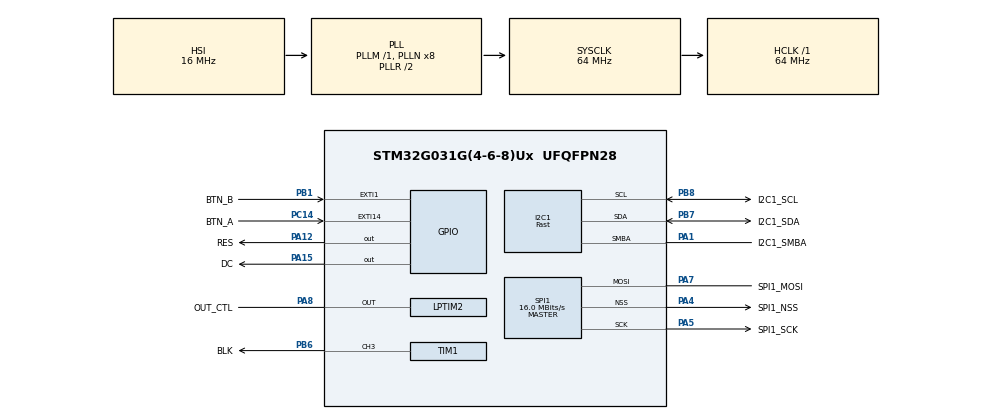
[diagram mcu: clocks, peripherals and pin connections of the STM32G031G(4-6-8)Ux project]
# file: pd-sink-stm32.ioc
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Dma.Request0=SPI1_TX
Dma.SPI1_TX.0.Direction=DMA_MEMORY_TO_PERIPH
Dma.SPI1_TX.0.EventEnable=ENABLE
Dma.SPI1_TX.0.Instance=DMA1_Channel1
Dma.SPI1_TX.0.MemDataAlignment=DMA_MDATAALIGN_BYTE
Dma.SPI1_TX.0.MemInc=DMA_MINC_ENABLE
Dma.SPI1_TX.0.Mode=DMA_NORMAL
Dma.SPI1_TX.0.PeriphDataAlignment=DMA_PDATAALIGN_BYTE
Dma.SPI1_TX.0.PeriphInc=DMA_PINC_DISABLE
Dma.SPI1_TX.0.Polarity=HAL_DMAMUX_REQ_GEN_RISING
Dma.SPI1_TX.0.Priority=DMA_PRIORITY_HIGH
Dma.SPI1_TX.0.RequestNumber=1
Dma.SPI1_TX.0.SignalID=NONE
Dma.SPI1_TX.0.SyncEnable=DISABLE
Dma.SPI1_TX.0.SyncPolarity=HAL_DMAMUX_SYNC_NO_EVENT
Dma.SPI1_TX.0.SyncRequestNumber=1
Dma.SPI1_TX.0.SyncSignalID=NONE
I2C1.CustomTiming=Disabled
I2C1.I2C_Speed_Mode=I2C_Fast
I2C1.Timeout=0x0000830D
I2C1.Timing=0x00C12166
Mcu.Family=STM32G0
Mcu.Name=STM32G031G(4-6-8)Ux
Mcu.Package=UFQFPN28
NVIC.DMA1_Ch4_5_DMAMUX1_OVR_IRQn=true\:0\:0\:false\:false\:true\:false\:true\:true
NVIC.DMA1_Channel1_IRQn=true\:0\:0\:false\:false\:true\:false\:true\:true
PA1.GPIO_Label=I2C1_SMBA
PA1.Mode=SMBus-Alert-mode
PA1.Signal=I2C1_SMBA
PA12\ [PA10].GPIO_Label=RES
PA12\ [PA10].Signal=GPIO_Output
PA13.Mode=Serial_Wire
PA13.Signal=SYS_SWDIO
PA14-BOOT0.Mode=Serial_Wire
PA14-BOOT0.Signal=SYS_SWCLK
PA15.GPIO_Label=DC
PA15.GPIO_Speed=GPIO_SPEED_FREQ_LOW
PA15.Signal=GPIO_Output
PA4.GPIO_Label=SPI1_NSS
PA4.Mode=NSS_Signal_Hard_Output
PA4.Signal=SPI1_NSS
PA5.GPIO_Label=SPI1_SCK
PA5.Mode=Simplex_Bidirectional_Master
PA5.Signal=SPI1_SCK
PA7.GPIO_Label=SPI1_MOSI
PA7.Mode=Simplex_Bidirectional_Master
PA7.Signal=SPI1_MOSI
PA8.GPIO_Label=OUT_CTL
PA8.Mode=WaveformGeneration
PA8.Signal=LPTIM2_OUT
PB1.GPIO_Label=BTN_B
PB1.GPIO_ModeDefaultEXTI=GPIO_MODE_IT_RISING_FALLING
PB1.GPIO_PuPd=GPIO_PULLUP
PB1.Signal=GPXTI1
PB6.GPIO_Label=BLK
PB6.Signal=S_TIM1_CH3
PB7.GPIO_Label=I2C1_SDA
PB7.Mode=SMBus-Alert-mode
PB7.Signal=I2C1_SDA
PB8.GPIO_Label=I2C1_SCL
PB8.Mode=SMBus-Alert-mode
PB8.Signal=I2C1_SCL
PC14-OSC32_IN\ (PC14).GPIO_Label=BTN_A
PC14-OSC32_IN\ (PC14).GPIO_PuPd=GPIO_PULLUP
PC14-OSC32_IN\ (PC14).Signal=GPXTI14
ProjectManager.HeapSize=0x200
ProjectManager.StackSize=0x400
ProjectManager.TargetToolchain=CMake
RCC.ADCFreq_Value=64000000
RCC.AHBFreq_Value=64000000
RCC.CortexFreq_Value=64000000
RCC.EXTERNAL_CLOCK_VALUE=12288000
RCC.HCLKFreq_Value=64000000
RCC.HSE_VALUE=8000000
RCC.HSI_VALUE=16000000
RCC.LSE_VALUE=32768
RCC.PLLQ=RCC_PLLQ_DIV4
RCC.SYSCLKFreq_VALUE=64000000
RCC.SYSCLKSource=RCC_SYSCLKSOURCE_PLLCLK
RCC.VCOOutputFreq_Value=128000000
SH.S_TIM1_CH3.0=TIM1_CH3,PWM Generation3 CH3
SPI1.BaudRatePrescaler=SPI_BAUDRATEPRESCALER_4
SPI1.CLKPolarity=SPI_POLARITY_HIGH
SPI1.CalculateBaudRate=16.0 MBits/s
SPI1.Direction=SPI_DIRECTION_1LINE
SPI1.Mode=SPI_MODE_MASTER
SPI1.VirtualNSS=VM_NSSHARD
SPI1.VirtualType=VM_MASTER
TIM1.Channel-PWM\ Generation3\ CH3=TIM_CHANNEL_3
VP_LPTIM2_VS_LPTIM_counterModeInternalClock.Mode=Counts__internal_clock_event_00
VP_TIM1_VS_ClockSourceINT.Mode=Internal
board=custom

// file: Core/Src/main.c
/* USER CODE BEGIN Header */
/**
 ******************************************************************************
 * @file           : main.c
 * @brief          : Main program body
 ******************************************************************************
 * @attention
 *
 * Copyright (c) 2024 STMicroelectronics.
 * All rights reserved.
 *
 * This software is licensed under terms that can be found in the LICENSE file
 * in the root directory of this software component.
 * If no LICENSE file comes with this software, it is provided AS-IS.
 *
 ******************************************************************************
 */
/* USER CODE END Header */
#include "main.h"

/* USER CODE BEGIN Includes */

#include "st7789.h"
/* USER CODE END Includes */

SMBUS_HandleTypeDef hsmbus1;

LPTIM_HandleTypeDef hlptim2;

SPI_HandleTypeDef hspi1;
DMA_HandleTypeDef hdma_spi1_tx;

TIM_HandleTypeDef htim1;

void SystemClock_Config(void);
static void MX_GPIO_Init(void);
static void MX_DMA_Init(void);
static void MX_I2C1_SMBUS_Init(void);
static void MX_LPTIM2_Init(void);
static void MX_SPI1_Init(void);
static void MX_TIM1_Init(void);

int main(void) {

  /* MCU Configuration--------------------------------------------------------*/

  /* Reset of all peripherals, Initializes the Flash interface and the Systick.
   */
  HAL_Init();

  /* Configure the system clock */
  SystemClock_Config();

  /* Initialize all configured peripherals */
  MX_GPIO_Init();
  MX_DMA_Init();
  MX_I2C1_SMBUS_Init();
  MX_LPTIM2_Init();
  MX_SPI1_Init();
  MX_TIM1_Init();
  /* USER CODE BEGIN 2 */
  ST7789_Init();
  ST7789_Fill_Color(WHITE);

  uint8_t color = 0;
  /* USER CODE END 2 */

  /* Infinite loop */
  while (1) {

    /* USER CODE BEGIN 3 */
    // HAL_Delay(1000);
    // HAL_GPIO_TogglePin(BLK_GPIO_Port, BLK_Pin);
    ST7789_Test();
    color += 1;
    color %= 7;
    // 七彩色
    switch (color) {
      case 0:
        ST7789_Fill_Color(WHITE);
        break;
      case 1:
        ST7789_Fill_Color(MAGENTA);
        break;
      case 2:
        ST7789_Fill_Color(RED);
        break;
      case 3:
        ST7789_Fill_Color(YELLOW);
        break;
      case 4:
        ST7789_Fill_Color(GREEN);
        break;
      case 5:
        ST7789_Fill_Color(CYAN);
        break;
      case 6:
        ST7789_Fill_Color(BLUE);
        break;
      default:
        break;
    }
  }
  /* USER CODE END 3 */
}

void SystemClock_Config(void) {
  RCC_OscInitTypeDef RCC_OscInitStruct = {0};
  RCC_ClkInitTypeDef RCC_ClkInitStruct = {0};

  /** Configure the main internal regulator output voltage
   */
  HAL_PWREx_ControlVoltageScaling(PWR_REGULATOR_VOLTAGE_SCALE1);

  /** Initializes the RCC Oscillators according to the specified parameters
   * in the RCC_OscInitTypeDef structure.
   */
  RCC_OscInitStruct.OscillatorType = RCC_OSCILLATORTYPE_HSI;
  RCC_OscInitStruct.HSIState = RCC_HSI_ON;
  RCC_OscInitStruct.HSIDiv = RCC_HSI_DIV1;
  RCC_OscInitStruct.HSICalibrationValue = RCC_HSICALIBRATION_DEFAULT;
  RCC_OscInitStruct.PLL.PLLState = RCC_PLL_ON;
  RCC_OscInitStruct.PLL.PLLSource = RCC_PLLSOURCE_HSI;
  RCC_OscInitStruct.PLL.PLLM = RCC_PLLM_DIV1;
  RCC_OscInitStruct.PLL.PLLN = 8;
  RCC_OscInitStruct.PLL.PLLP = RCC_PLLP_DIV2;
  RCC_OscInitStruct.PLL.PLLQ = RCC_PLLQ_DIV4;
  RCC_OscInitStruct.PLL.PLLR = RCC_PLLR_DIV2;
  if (HAL_RCC_OscConfig(&RCC_OscInitStruct) != HAL_OK) {
    Error_Handler();
  }

  /** Initializes the CPU, AHB and APB buses clocks
   */
  RCC_ClkInitStruct.ClockType =
      RCC_CLOCKTYPE_HCLK | RCC_CLOCKTYPE_SYSCLK | RCC_CLOCKTYPE_PCLK1;
  RCC_ClkInitStruct.SYSCLKSource = RCC_SYSCLKSOURCE_PLLCLK;
  RCC_ClkInitStruct.AHBCLKDivider = RCC_SYSCLK_DIV1;
  RCC_ClkInitStruct.APB1CLKDivider = RCC_HCLK_DIV1;

  if (HAL_RCC_ClockConfig(&RCC_ClkInitStruct, FLASH_LATENCY_2) != HAL_OK) {
    Error_Handler();
  }
}

static void MX_I2C1_SMBUS_Init(void) {

  hsmbus1.Instance = I2C1;
  hsmbus1.Init.Timing = 0x00C12166;
  hsmbus1.Init.AnalogFilter = SMBUS_ANALOGFILTER_ENABLE;
  hsmbus1.Init.OwnAddress1 = 2;
  hsmbus1.Init.AddressingMode = SMBUS_ADDRESSINGMODE_7BIT;
  hsmbus1.Init.DualAddressMode = SMBUS_DUALADDRESS_DISABLE;
  hsmbus1.Init.OwnAddress2 = 0;
  hsmbus1.Init.OwnAddress2Masks = SMBUS_OA2_NOMASK;
  hsmbus1.Init.GeneralCallMode = SMBUS_GENERALCALL_DISABLE;
  hsmbus1.Init.NoStretchMode = SMBUS_NOSTRETCH_DISABLE;
  hsmbus1.Init.PacketErrorCheckMode = SMBUS_PEC_DISABLE;
  hsmbus1.Init.PeripheralMode = SMBUS_PERIPHERAL_MODE_SMBUS_SLAVE;
  hsmbus1.Init.SMBusTimeout = 0x0000830D;
  if (HAL_SMBUS_Init(&hsmbus1) != HAL_OK) {
    Error_Handler();
  }

  /** configuration Alert Mode
   */
  if (HAL_SMBUS_EnableAlert_IT(&hsmbus1) != HAL_OK) {
    Error_Handler();
  }

  /** Configure Digital filter
   */
  if (HAL_SMBUS_ConfigDigitalFilter(&hsmbus1, 0) != HAL_OK) {
    Error_Handler();
  }
}

static void MX_LPTIM2_Init(void) {

  hlptim2.Instance = LPTIM2;
  hlptim2.Init.Clock.Source = LPTIM_CLOCKSOURCE_APBCLOCK_LPOSC;
  hlptim2.Init.Clock.Prescaler = LPTIM_PRESCALER_DIV1;
  hlptim2.Init.Trigger.Source = LPTIM_TRIGSOURCE_SOFTWARE;
  hlptim2.Init.OutputPolarity = LPTIM_OUTPUTPOLARITY_HIGH;
  hlptim2.Init.UpdateMode = LPTIM_UPDATE_IMMEDIATE;
  hlptim2.Init.CounterSource = LPTIM_COUNTERSOURCE_INTERNAL;
  hlptim2.Init.Input1Source = LPTIM_INPUT1SOURCE_GPIO;
  if (HAL_LPTIM_Init(&hlptim2) != HAL_OK) {
    Error_Handler();
  }
}

static void MX_SPI1_Init(void) {

  /* SPI1 parameter configuration*/
  hspi1.Instance = SPI1;
  hspi1.Init.Mode = SPI_MODE_MASTER;
  hspi1.Init.Direction = SPI_DIRECTION_1LINE;
  hspi1.Init.DataSize = SPI_DATASIZE_8BIT;
  hspi1.Init.CLKPolarity = SPI_POLARITY_HIGH;
  hspi1.Init.CLKPhase = SPI_PHASE_1EDGE;
  hspi1.Init.NSS = SPI_NSS_HARD_OUTPUT;
  hspi1.Init.BaudRatePrescaler = SPI_BAUDRATEPRESCALER_4;
  hspi1.Init.FirstBit = SPI_FIRSTBIT_MSB;
  hspi1.Init.TIMode = SPI_TIMODE_DISABLE;
  hspi1.Init.CRCCalculation = SPI_CRCCALCULATION_DISABLE;
  hspi1.Init.CRCPolynomial = 7;
  hspi1.Init.CRCLength = SPI_CRC_LENGTH_DATASIZE;
  hspi1.Init.NSSPMode = SPI_NSS_PULSE_ENABLE;
  if (HAL_SPI_Init(&hspi1) != HAL_OK) {
    Error_Handler();
  }
}

static void MX_TIM1_Init(void) {

  TIM_ClockConfigTypeDef sClockSourceConfig = {0};
  TIM_MasterConfigTypeDef sMasterConfig = {0};
  TIM_OC_InitTypeDef sConfigOC = {0};
  TIM_BreakDeadTimeConfigTypeDef sBreakDeadTimeConfig = {0};

  htim1.Instance = TIM1;
  htim1.Init.Prescaler = 0;
  htim1.Init.CounterMode = TIM_COUNTERMODE_UP;
  htim1.Init.Period = 65535;
  htim1.Init.ClockDivision = TIM_CLOCKDIVISION_DIV1;
  htim1.Init.RepetitionCounter = 0;
  htim1.Init.AutoReloadPreload = TIM_AUTORELOAD_PRELOAD_DISABLE;
  if (HAL_TIM_Base_Init(&htim1) != HAL_OK) {
    Error_Handler();
  }
  sClockSourceConfig.ClockSource = TIM_CLOCKSOURCE_INTERNAL;
  if (HAL_TIM_ConfigClockSource(&htim1, &sClockSourceConfig) != HAL_OK) {
    Error_Handler();
  }
  if (HAL_TIM_PWM_Init(&htim1) != HAL_OK) {
    Error_Handler();
  }
  sMasterConfig.MasterOutputTrigger = TIM_TRGO_RESET;
  sMasterConfig.MasterOutputTrigger2 = TIM_TRGO2_RESET;
  sMasterConfig.MasterSlaveMode = TIM_MASTERSLAVEMODE_DISABLE;
  if (HAL_TIMEx_MasterConfigSynchronization(&htim1, &sMasterConfig) != HAL_OK) {
    Error_Handler();
  }
  sConfigOC.OCMode = TIM_OCMODE_PWM1;
  sConfigOC.Pulse = 0;
  sConfigOC.OCPolarity = TIM_OCPOLARITY_HIGH;
  sConfigOC.OCNPolarity = TIM_OCNPOLARITY_HIGH;
  sConfigOC.OCFastMode = TIM_OCFAST_DISABLE;
  sConfigOC.OCIdleState = TIM_OCIDLESTATE_RESET;
  sConfigOC.OCNIdleState = TIM_OCNIDLESTATE_RESET;
  if (HAL_TIM_PWM_ConfigChannel(&htim1, &sConfigOC, TIM_CHANNEL_3) != HAL_OK) {
    Error_Handler();
  }
  sBreakDeadTimeConfig.OffStateRunMode = TIM_OSSR_DISABLE;
  sBreakDeadTimeConfig.OffStateIDLEMode = TIM_OSSI_DISABLE;
  sBreakDeadTimeConfig.LockLevel = TIM_LOCKLEVEL_OFF;
  sBreakDeadTimeConfig.DeadTime = 0;
  sBreakDeadTimeConfig.BreakState = TIM_BREAK_DISABLE;
  sBreakDeadTimeConfig.BreakPolarity = TIM_BREAKPOLARITY_HIGH;
  sBreakDeadTimeConfig.BreakFilter = 0;
  sBreakDeadTimeConfig.BreakAFMode = TIM_BREAK_AFMODE_INPUT;
  sBreakDeadTimeConfig.Break2State = TIM_BREAK2_DISABLE;
  sBreakDeadTimeConfig.Break2Polarity = TIM_BREAK2POLARITY_HIGH;
  sBreakDeadTimeConfig.Break2Filter = 0;
  sBreakDeadTimeConfig.Break2AFMode = TIM_BREAK_AFMODE_INPUT;
  sBreakDeadTimeConfig.AutomaticOutput = TIM_AUTOMATICOUTPUT_DISABLE;
  if (HAL_TIMEx_ConfigBreakDeadTime(&htim1, &sBreakDeadTimeConfig) != HAL_OK) {
    Error_Handler();
  }
  HAL_TIM_MspPostInit(&htim1);
}

static void MX_DMA_Init(void) {
  /* DMA controller clock enable */
  __HAL_RCC_DMA1_CLK_ENABLE();

  /* DMA interrupt init */
  /* DMA1_Channel1_IRQn interrupt configuration */
  HAL_NVIC_SetPriority(DMA1_Channel1_IRQn, 0, 0);
  HAL_NVIC_EnableIRQ(DMA1_Channel1_IRQn);
  /* DMA1_Ch4_5_DMAMUX1_OVR_IRQn interrupt configuration */
  HAL_NVIC_SetPriority(DMA1_Ch4_5_DMAMUX1_OVR_IRQn, 0, 0);
  HAL_NVIC_EnableIRQ(DMA1_Ch4_5_DMAMUX1_OVR_IRQn);
}

static void MX_GPIO_Init(void) {
  GPIO_InitTypeDef GPIO_InitStruct = {0};

  /* GPIO Ports Clock Enable */
  __HAL_RCC_GPIOC_CLK_ENABLE();
  __HAL_RCC_GPIOA_CLK_ENABLE();
  __HAL_RCC_GPIOB_CLK_ENABLE();

  /*Configure GPIO pin Output Level */
  HAL_GPIO_WritePin(GPIOA, RES_Pin | DC_Pin, GPIO_PIN_RESET);

  /*Configure GPIO pin : BTN_A_Pin */
  GPIO_InitStruct.Pin = BTN_A_Pin;
  GPIO_InitStruct.Mode = GPIO_MODE_IT_RISING;
  GPIO_InitStruct.Pull = GPIO_PULLUP;
  HAL_GPIO_Init(BTN_A_GPIO_Port, &GPIO_InitStruct);

  /*Configure GPIO pin : BTN_B_Pin */
  GPIO_InitStruct.Pin = BTN_B_Pin;
  GPIO_InitStruct.Mode = GPIO_MODE_IT_RISING_FALLING;
  GPIO_InitStruct.Pull = GPIO_PULLUP;
  HAL_GPIO_Init(BTN_B_GPIO_Port, &GPIO_InitStruct);

  /*Configure GPIO pins : RES_Pin DC_Pin */
  GPIO_InitStruct.Pin = RES_Pin | DC_Pin;
  GPIO_InitStruct.Mode = GPIO_MODE_OUTPUT_PP;
  GPIO_InitStruct.Pull = GPIO_NOPULL;
  GPIO_InitStruct.Speed = GPIO_SPEED_FREQ_LOW;
  HAL_GPIO_Init(GPIOA, &GPIO_InitStruct);

}

void Error_Handler(void) {
  __disable_irq();
  while (1) {
  }
}

#ifdef USE_FULL_ASSERT
/**
 * @brief  Reports the name of the source file and the source line number
 *         where the assert_param error has occurred.
 * @param  file: pointer to the source file name
 * @param  line: assert_param error line source number
 * @retval None
 */
void assert_failed(uint8_t *file, uint32_t line) {
  /* USER CODE BEGIN 6 */
  /* User can add his own implementation to report the file name and line
     number, ex: printf("Wrong parameters value: file %s on line %d\r\n", file,
     line) */
  /* USER CODE END 6 */
}
#endif /* USE_FULL_ASSERT */
